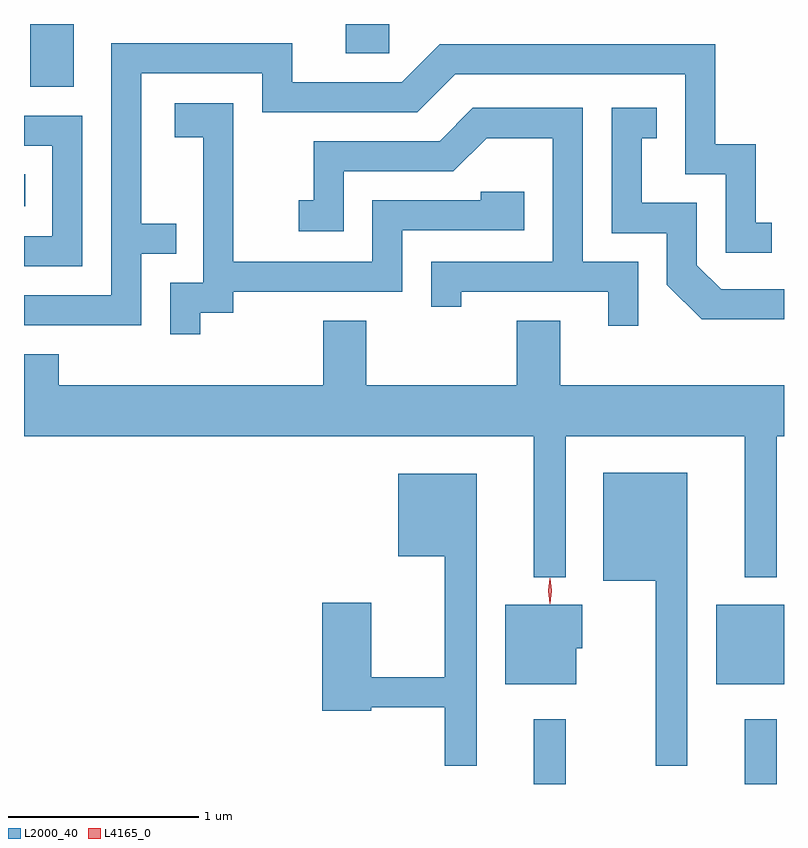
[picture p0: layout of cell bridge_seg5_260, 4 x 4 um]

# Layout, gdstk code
import gdstk
lib = gdstk.Library(unit=1e-6, precision=1e-09)
def R(c, l, rs):  # rectangles x0, y0, x1, y1
    for r in rs: c.add(gdstk.rectangle(r[:2], r[2:], *l))
def P(c, l, *ps):  # polygons
    for p in ps: c.add(gdstk.Polygon(p, *l))
L2000_40 = (2000, 40)
L4165_0 = (4165, 0)

bridge_seg5_260 = lib.new_cell('bridge_seg5_260')
R(bridge_seg5_260, L2000_40, [(722.541,1494.926,722.709,1495.268), (723.651,1494.926,723.819,1495.268), (723.501,1495.451,723.857,1495.869), (719.857,1497.966,719.863,1498.134), (719.891,1498.596,720.119,1498.926), (721.551,1498.771,721.779,1498.926)])
P(bridge_seg5_260, L2000_40, [(720.474,1497.716),(720.658,1497.716),(720.658,1497.874),(720.474,1497.874),(720.474,1498.666),(721.111,1498.666),(721.111,1498.461),(721.927,1498.461),(722.127,1498.661),(723.336,1498.661),(723.336,1498.136),(723.551,1498.136),(723.551,1497.721),(723.793,1497.721),(723.793,1497.879),(723.709,1497.879),(723.709,1498.294),(723.494,1498.294),(723.494,1498.819),(722.044,1498.819),(721.844,1498.619),(721.269,1498.619),(721.269,1498.824),(720.316,1498.824),(720.316,1497.499),(719.857,1497.499),(719.857,1497.341),(720.474,1497.341)],
  [(720.784,1497.406),(720.959,1497.406),(720.959,1497.516),(721.849,1497.516),(721.849,1497.841),(722.489,1497.841),(722.489,1498.044),(722.261,1498.044),(722.261,1497.999),(721.691,1497.999),(721.691,1497.674),(720.959,1497.674),(720.959,1498.509),(720.651,1498.509),(720.651,1498.331),(720.801,1498.331),(720.801,1497.564),(720.626,1497.564),(720.626,1497.293),(720.784,1497.293)],
  [(723.857,1497.529),(723.527,1497.529),(723.399,1497.657),(723.399,1497.984),(723.109,1497.984),(723.109,1498.326),(723.188,1498.326),(723.188,1498.484),(722.951,1498.484),(722.951,1497.826),(723.241,1497.826),(723.241,1497.554),(723.424,1497.371),(723.857,1497.371)],
  [(723.089,1497.674),(722.799,1497.674),(722.799,1498.484),(722.219,1498.484),(722.044,1498.309),(721.381,1498.309),(721.381,1497.999),(721.303,1497.999),(721.303,1497.836),(721.539,1497.836),(721.539,1498.151),(722.117,1498.151),(722.292,1498.326),(722.641,1498.326),(722.641,1497.674),(722.001,1497.674),(722.001,1497.438),(722.159,1497.438),(722.159,1497.516),(722.931,1497.516),(722.931,1497.338),(723.089,1497.338)],
  [(720.164,1498.444),(719.857,1498.444),(719.857,1498.286),(720.006,1498.286),(720.006,1497.809),(719.857,1497.809),(719.857,1497.651),(720.164,1497.651)],
  [(722.451,1497.364),(722.451,1497.024),(721.659,1497.024),(721.659,1497.364),(721.431,1497.364),(721.431,1497.024),(720.039,1497.024),(720.039,1497.189),(719.857,1497.189),(719.857,1496.756),(722.541,1496.756),(722.541,1496.013),(722.709,1496.013),(722.709,1496.756),(723.651,1496.756),(723.651,1496.013),(723.819,1496.013),(723.819,1496.756),(723.857,1496.756),(723.857,1497.024),(722.679,1497.024),(722.679,1497.364)],
  [(723.349,1496.564),(722.906,1496.564),(722.906,1495.996),(723.181,1495.996),(723.181,1495.023),(723.349,1495.023)],
  [(722.239,1496.559),(721.826,1496.559),(721.826,1496.126),(722.071,1496.126),(722.071,1495.489),(721.684,1495.489),(721.684,1495.879),(721.426,1495.879),(721.426,1495.311),(721.684,1495.311),(721.684,1495.331),(722.071,1495.331),(722.071,1495.023),(722.239,1495.023)],
  [(722.764,1495.641),(722.794,1495.641),(722.794,1495.869),(722.391,1495.869),(722.391,1495.451),(722.764,1495.451)])
P(bridge_seg5_260, L4165_0, [(722.626,1495.874),(722.625,1495.875),(722.615,1495.942),(722.625,1496.01),(722.625,1496.01),(722.626,1496.01),(722.635,1495.942),(722.626,1495.875)],
  [(722.625,1495.878),(722.624,1495.879),(722.615,1495.943),(722.624,1496.007),(722.625,1496.007),(722.625,1496.007),(722.635,1495.943),(722.625,1495.879)])

lib.write_gds('bridge_seg5_260.gds')
